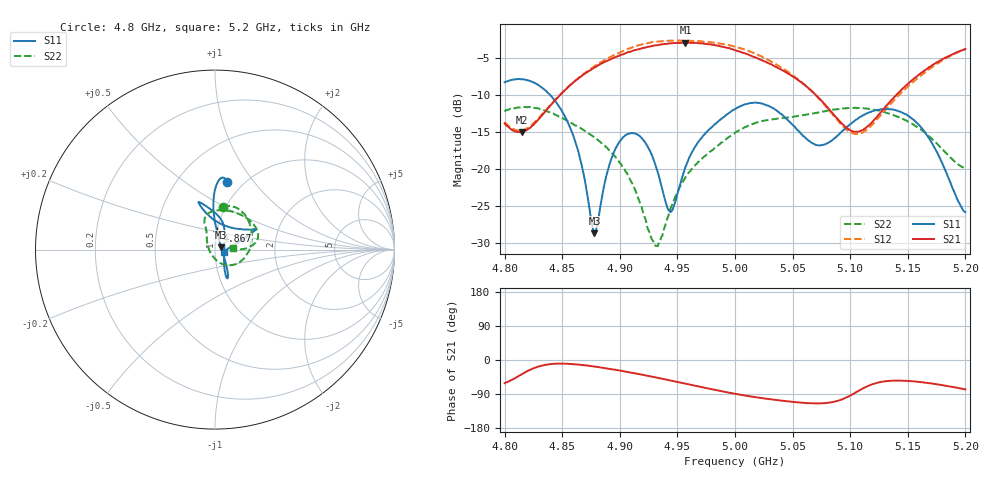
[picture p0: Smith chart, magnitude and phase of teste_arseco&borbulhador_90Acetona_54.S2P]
! Network Analyzer HP8722D
! Hewlett-Packard
! Data name: Linha & Wilkinson
! Saver's name: Rodrigo Anjos
! Comments: Teste da utilização de aquisição
! continua pelo VNA HP8722D
! Time and date: 17/4/2025 11:30
!  Frequency  S11  S21  S12  S22
# HZ  S  MA R 50
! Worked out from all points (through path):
!   401 points, 4.8 GHz to 5.2 GHz, reference 50 ohm
!   highest |S21| = -2.97 dB at 4.957 GHz (marker M1); lowest = -15.0 dB at 4.815 GHz (marker M2)
!   lowest |S11| = -28.7 dB at 4.878 GHz (marker M3), VSWR 1.08, Z = 53.6 + j1.27 ohm
!   |S11| at or under -10 dB: 4.839 GHz to end of sweep
!   |S22| runs from -30.4 to -11.6 dB; largest |S21 - S12| = 1.4
!   S11 on the Smith chart (normalised r, x): 4.8 GHz: 0.84, +0.75; 4.867 GHz: 1.00, +0.21; 5.2 GHz: 1.10, -0.03
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4.8e9  0.3839 79.8  0.2031 -61.0  0.2077 74.0  0.2436 79.0
4.815e9  0.4021 84.5  0.1771 -37.4  0.1817 95.7  0.2621 65.6
4.846e9  0.2729 91.8  0.3026 -9.6  0.3053 123.2  0.2284 27.3
4.858e9  0.181 91.2  0.3732 -10.5  0.3738 124.2  0.2041 9.6
4.867e9  0.1057 84.5  0.4242 -13.2  0.4273 123.4  0.1866 -4.0
4.878e9  0.03693 18.6  0.4834 -17.4  0.4915 121.2  0.1637 -20.6
4.892e9  0.1134 -55.8  0.5473 -23.7  0.5681 116.7  0.1312 -40.7
4.904e9  0.1667 -64.3  0.5974 -30.1  0.629 111.8  0.1004 -57.3
4.92e9  0.1585 -67.6  0.6521 -39.2  0.6945 103.0  0.05178 -90.5
4.929e9  0.1178 -63.4  0.6752 -44.5  0.7176 97.6  0.03275 -135.0
4.934e9  0.08951 -55.6  0.6852 -47.8  0.7242 94.2  0.03213 -172.9
4.944e9  0.05128 -1.6  0.7027 -54.1  0.7304 87.9  0.05408 141.6
4.957e9  0.1036 58.1  0.7102 -62.5  0.7318 79.4  0.08795 121.7
4.972e9  0.1662 76.9  0.702 -71.9  0.7219 70.0  0.1191 114.2
5e9  0.2535 103.1  0.6323 -89.3  0.6683 51.7  0.176 109.6
5.029e9  0.2667 109.1  0.5168 -102.8  0.542 35.8  0.2139 93.2
5.067e9  0.1498 81.0  0.3337 -114.2  0.3324 26.4  0.2364 59.7
5.08e9  0.1494 57.0  0.2619 -113.2  0.2583 28.8  0.2471 46.7
5.104e9  0.2118 31.9  0.1787 -87.1  0.1727 57.1  0.2584 26.7
5.134e9  0.253 26.0  0.2808 -55.0  0.2683 91.0  0.2363 11.4
5.164e9  0.1805 21.7  0.4582 -59.4  0.442 88.4  0.1782 2.6
5.2e9  0.05135 -16.8  0.6426 -77.5  0.6441 71.5  0.1001 4.4
